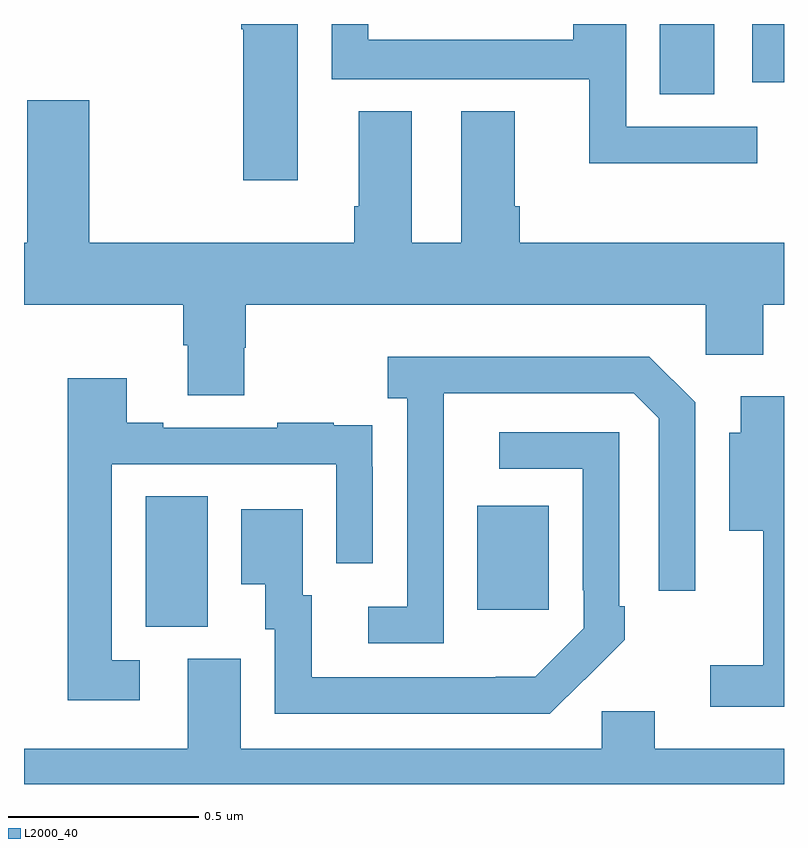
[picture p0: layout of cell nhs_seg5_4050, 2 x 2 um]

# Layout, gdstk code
import gdstk
lib = gdstk.Library(unit=1e-6, precision=1e-09)
def R(c, l, rs):  # rectangles x0, y0, x1, y1
    for r in rs: c.add(gdstk.rectangle(r[:2], r[2:], *l))
def P(c, l, *ps):  # polygons
    for p in ps: c.add(gdstk.Polygon(p, *l))
L2000_40 = (2000, 40)

nhs_seg5_4050 = lib.new_cell('nhs_seg5_4050')
R(nhs_seg5_4050, L2000_40, [(165.32,889.213,165.484,889.556), (166.193,889.257,166.381,889.531), (166.673,890.614,166.816,890.799), (166.916,890.646,167,890.799)])
P(nhs_seg5_4050, L2000_40, [(165.721,890.799),(165.572,890.799),(165.572,890.785),(165.577,890.785),(165.577,890.388),(165.721,890.388)],
  [(166.93,890.529),(166.585,890.529),(166.585,890.799),(166.445,890.799),(166.445,890.758),(165.906,890.758),(165.906,890.799),(165.81,890.799),(165.81,890.654),(166.487,890.654),(166.487,890.432),(166.93,890.432)],
  [(165.579,889.947),(165.584,889.947),(165.584,890.06),(166.794,890.06),(166.794,889.929),(166.946,889.929),(166.946,890.06),(167,890.06),(167,890.224),(166.304,890.224),(166.304,890.32),(166.291,890.32),(166.291,890.569),(166.151,890.569),(166.151,890.224),(166.021,890.224),(166.021,890.569),(165.881,890.569),(165.881,890.32),(165.869,890.32),(165.869,890.224),(165.172,890.224),(165.172,890.599),(165.008,890.599),(165.008,890.224),(165,890.224),(165,890.06),(165.419,890.06),(165.419,889.954),(165.431,889.954),(165.431,889.822),(165.579,889.822)],
  [(166.104,889.627),(166.105,889.627),(166.105,889.827),(166.605,889.827),(166.671,889.761),(166.671,889.308),(166.767,889.308),(166.767,889.803),(166.646,889.924),(165.957,889.924),(165.957,889.814),(166.008,889.814),(166.008,889.266),(165.906,889.266),(165.906,889.17),(166.104,889.17)],
  [(165.304,889.125),(165.231,889.125),(165.231,889.641),(165.822,889.641),(165.822,889.38),(165.918,889.38),(165.918,889.634),(165.917,889.634),(165.917,889.743),(165.815,889.743),(165.815,889.75),(165.667,889.75),(165.667,889.737),(165.367,889.737),(165.367,889.75),(165.271,889.75),(165.271,889.867),(165.115,889.867),(165.115,889.02),(165.304,889.02)],
  [(167,889.819),(166.886,889.819),(166.886,889.723),(166.856,889.723),(166.856,889.466),(166.946,889.466),(166.946,889.111),(166.806,889.111),(166.806,889.002),(167,889.002)],
  [(166.475,889.075),(166.476,889.074),(166.581,889.179),(166.581,889.267),(166.566,889.267),(166.566,889.725),(166.251,889.725),(166.251,889.629),(166.47,889.629),(166.47,889.309),(166.473,889.309),(166.473,889.209),(166.345,889.081),(166.241,889.081),(166.241,889.08),(165.757,889.08),(165.757,889.296),(165.733,889.296),(165.733,889.522),(165.572,889.522),(165.572,889.325),(165.635,889.325),(165.635,889.206),(165.66,889.206),(165.66,888.984),(166.384,888.984)],
  [(167,888.892),(166.66,888.892),(166.66,888.99),(166.521,888.99),(166.521,888.892),(165.571,888.892),(165.571,889.128),(165.431,889.128),(165.431,888.892),(165,888.892),(165,888.799),(167,888.799)])

lib.write_gds('nhs_seg5_4050.gds')
